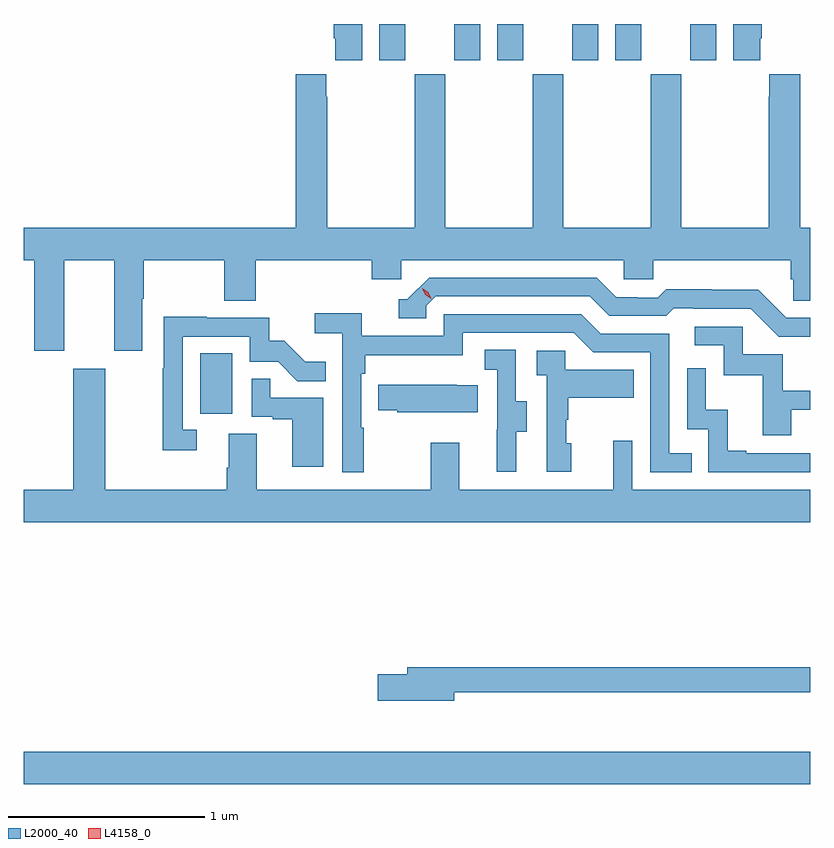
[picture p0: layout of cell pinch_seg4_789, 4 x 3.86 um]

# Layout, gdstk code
import gdstk
lib = gdstk.Library(unit=1e-6, precision=1e-09)
def R(c, l, rs):  # rectangles x0, y0, x1, y1
    for r in rs: c.add(gdstk.rectangle(r[:2], r[2:], *l))
def P(c, l, *ps):  # polygons
    for p in ps: c.add(gdstk.Polygon(p, *l))
L2000_40 = (2000, 40)
L4158_0 = (4158, 0)

pinch_seg4_789 = lib.new_cell('pinch_seg4_789')
R(pinch_seg4_789, L2000_40, [(804.227,815.468,808.227,815.632), (805.124,817.35,805.288,817.657), (806.036,819.147,806.167,819.332), (806.417,819.147,806.548,819.332), (806.636,819.147,806.767,819.332), (807.017,819.147,807.148,819.332), (807.236,819.147,807.367,819.332), (807.617,819.147,807.748,819.332)])
P(pinch_seg4_789, L2000_40, [(807.973,819.259),(807.98,819.259),(807.98,819.332),(807.836,819.332),(807.836,819.147),(807.973,819.147)],
  [(805.948,819.332),(805.805,819.332),(805.805,819.259),(805.811,819.259),(805.811,819.147),(805.948,819.147)],
  [(804.433,818.132),(804.689,818.132),(804.689,817.671),(804.829,817.671),(804.829,817.936),(804.837,817.936),(804.837,818.132),(805.246,818.132),(805.246,817.924),(805.406,817.924),(805.406,818.132),(805.997,818.132),(805.997,818.034),(806.148,818.034),(806.148,818.132),(807.279,818.132),(807.279,818.034),(807.429,818.034),(807.429,818.132),(808.127,818.132),(808.127,818.034),(808.141,818.034),(808.141,817.924),(808.227,817.924),(808.227,818.296),(808.175,818.296),(808.175,819.076),(808.019,819.076),(808.019,818.963),(808.015,818.963),(808.015,818.296),(807.57,818.296),(807.57,819.076),(807.415,819.076),(807.415,818.296),(806.97,818.296),(806.97,819.076),(806.815,819.076),(806.815,818.296),(806.37,818.296),(806.37,819.076),(806.215,819.076),(806.215,818.296),(805.77,818.296),(805.77,818.963),(805.765,818.963),(805.765,819.076),(805.61,819.076),(805.61,818.296),(804.227,818.296),(804.227,818.132),(804.281,818.132),(804.281,817.671),(804.433,817.671)],
  [(808.227,817.839),(808.104,817.839),(807.962,817.981),(807.726,817.981),(807.726,817.984),(807.493,817.984),(807.451,817.941),(807.348,817.941),(807.348,817.944),(807.241,817.944),(807.142,818.043),(806.289,818.043),(806.178,817.932),(806.135,817.932),(806.135,817.836),(806.274,817.836),(806.274,817.899),(806.322,817.947),(807.105,817.947),(807.204,817.848),(807.493,817.848),(807.532,817.887),(807.631,817.887),(807.631,817.884),(807.924,817.884),(808.065,817.743),(808.227,817.743)],
  [(805.957,817.28),(805.944,817.28),(805.944,817.553),(805.964,817.553),(805.964,817.649),(806.46,817.649),(806.46,817.761),(807.024,817.761),(807.123,817.662),(807.414,817.662),(807.414,817.053),(807.623,817.053),(807.623,817.149),(807.51,817.149),(807.51,817.758),(807.16,817.758),(807.061,817.857),(806.364,817.857),(806.364,817.746),(805.946,817.746),(805.946,817.862),(805.707,817.862),(805.707,817.76),(805.848,817.76),(805.848,817.053),(805.957,817.053)],
  [(805.108,817.269),(805.035,817.269),(805.035,817.743),(805.377,817.743),(805.377,817.614),(805.521,817.614),(805.619,817.516),(805.763,817.516),(805.763,817.615),(805.659,817.615),(805.552,817.722),(805.476,817.722),(805.476,817.839),(805.157,817.839),(805.157,817.844),(804.939,817.844),(804.939,817.583),(804.934,817.583),(804.934,817.164),(805.108,817.164)],
  [(808.129,817.371),(808.227,817.371),(808.227,817.467),(808.087,817.467),(808.087,817.653),(807.882,817.653),(807.882,817.794),(807.639,817.794),(807.639,817.698),(807.786,817.698),(807.786,817.545),(807.985,817.545),(807.985,817.242),(808.129,817.242)],
  [(806.731,817.258),(806.785,817.258),(806.785,817.413),(806.73,817.413),(806.73,817.676),(806.571,817.676),(806.571,817.573),(806.634,817.573),(806.634,817.269),(806.633,817.269),(806.633,817.056),(806.731,817.056)],
  [(807.01,817.2),(806.985,817.2),(806.985,817.319),(806.995,817.319),(806.995,817.433),(807.329,817.433),(807.329,817.573),(806.982,817.573),(806.982,817.671),(806.835,817.671),(806.835,817.547),(806.886,817.547),(806.886,817.056),(807.01,817.056)],
  [(808.227,817.149),(807.901,817.149),(807.901,817.162),(807.806,817.162),(807.806,817.37),(807.696,817.37),(807.696,817.582),(807.6,817.582),(807.6,817.272),(807.708,817.272),(807.708,817.053),(808.227,817.053)],
  [(808.227,816.964),(807.321,816.964),(807.321,817.213),(807.224,817.213),(807.224,816.964),(806.443,816.964),(806.443,817.204),(806.296,817.204),(806.296,816.964),(805.411,816.964),(805.411,817.25),(805.271,817.25),(805.271,817.076),(805.259,817.076),(805.259,816.964),(804.643,816.964),(804.643,817.579),(804.479,817.579),(804.479,816.964),(804.227,816.964),(804.227,816.8),(808.227,816.8)],
  [(805.75,817.431),(805.481,817.431),(805.481,817.529),(805.386,817.529),(805.386,817.335),(805.493,817.335),(805.493,817.323),(805.592,817.323),(805.592,817.08),(805.75,817.08)],
  [(806.537,817.495),(806.429,817.495),(806.429,817.498),(806.029,817.498),(806.029,817.369),(806.127,817.369),(806.127,817.358),(806.537,817.358)],
  [(806.416,815.934),(808.227,815.934),(808.227,816.062),(806.177,816.062),(806.177,816.026),(806.028,816.026),(806.028,815.891),(806.416,815.891)])
P(pinch_seg4_789, L4158_0, [(806.3,817.935),(806.269,817.955),(806.254,817.988),(806.254,817.988),(806.254,817.988),(806.285,817.968),(806.3,817.935),(806.3,817.935)])

lib.write_gds('pinch_seg4_789.gds')
